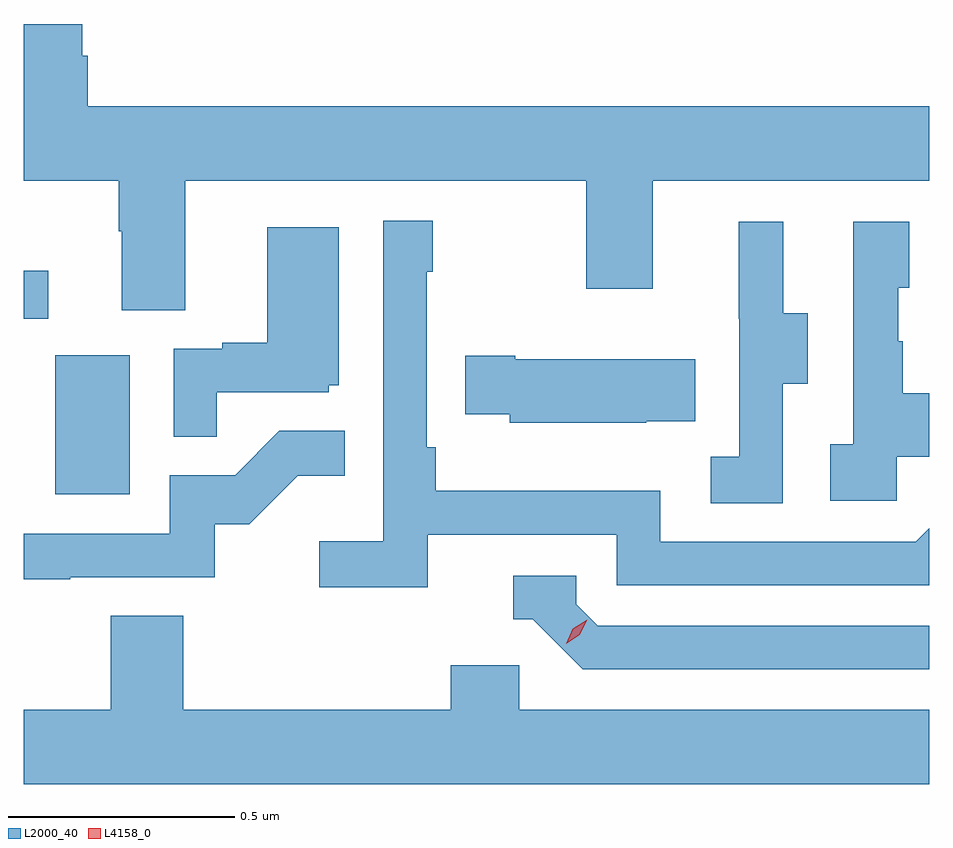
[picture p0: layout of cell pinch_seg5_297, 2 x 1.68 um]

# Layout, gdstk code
import gdstk
lib = gdstk.Library(unit=1e-6, precision=1e-09)
def R(c, l, rs):  # rectangles x0, y0, x1, y1
    for r in rs: c.add(gdstk.rectangle(r[:2], r[2:], *l))
def P(c, l, *ps):  # polygons
    for p in ps: c.add(gdstk.Polygon(p, *l))
L2000_40 = (2000, 40)
L4158_0 = (4158, 0)

pinch_seg5_297 = lib.new_cell('pinch_seg5_297')
R(pinch_seg5_297, L2000_40, [(894.146,890.7,894.31,891.007), (894.076,891.087,894.13,891.193)])
P(pinch_seg5_297, L2000_40, [(894.433,891.392),(895.318,891.392),(895.318,891.153),(895.465,891.153),(895.465,891.392),(896.076,891.392),(896.076,891.556),(894.218,891.556),(894.218,891.668),(894.205,891.668),(894.205,891.738),(894.076,891.738),(894.076,891.392),(894.286,891.392),(894.286,891.28),(894.293,891.28),(894.293,891.106),(894.433,891.106)],
  [(894.968,890.61),(895.386,890.61),(895.386,890.499),(896.076,890.499),(896.076,890.625),(896.046,890.595),(895.482,890.595),(895.482,890.707),(894.986,890.707),(894.986,890.803),(894.966,890.803),(894.966,891.191),(894.979,891.191),(894.979,891.304),(894.87,891.304),(894.87,890.596),(894.729,890.596),(894.729,890.494),(894.968,890.494)],
  [(895.752,890.944),(895.807,890.944),(895.807,891.099),(895.753,891.099),(895.753,891.301),(895.655,891.301),(895.655,891.087),(895.656,891.087),(895.656,890.783),(895.593,890.783),(895.593,890.68),(895.752,890.68)],
  [(896.004,890.783),(896.076,890.783),(896.076,890.923),(896.017,890.923),(896.017,891.038),(896.007,891.038),(896.007,891.156),(896.032,891.156),(896.032,891.301),(895.908,891.301),(895.908,890.81),(895.857,890.81),(895.857,890.685),(896.004,890.685)],
  [(894.503,890.925),(894.75,890.925),(894.75,890.94),(894.772,890.94),(894.772,891.289),(894.614,891.289),(894.614,891.034),(894.515,891.034),(894.515,891.021),(894.408,891.021),(894.408,890.827),(894.503,890.827)],
  [(895.451,890.861),(895.559,890.861),(895.559,890.998),(895.162,890.998),(895.162,891.006),(895.051,891.006),(895.051,890.876),(895.149,890.876),(895.149,890.858),(895.451,890.858)],
  [(894.179,890.517),(894.498,890.517),(894.498,890.634),(894.574,890.634),(894.681,890.741),(894.785,890.741),(894.785,890.84),(894.641,890.84),(894.543,890.742),(894.399,890.742),(894.399,890.613),(894.076,890.613),(894.076,890.512),(894.179,890.512)],
  [(896.076,890.409),(895.344,890.409),(895.296,890.457),(895.296,890.52),(895.157,890.52),(895.157,890.424),(895.2,890.424),(895.311,890.313),(896.076,890.313)],
  [(896.076,890.224),(895.17,890.224),(895.17,890.322),(895.019,890.322),(895.019,890.224),(894.428,890.224),(894.428,890.432),(894.268,890.432),(894.268,890.224),(894.076,890.224),(894.076,890.06),(896.076,890.06)])
P(pinch_seg5_297, L4158_0, [(895.274,890.37),(895.274,890.37),(895.289,890.403),(895.32,890.423),(895.32,890.423),(895.32,890.423),(895.304,890.39),(895.274,890.37)])

lib.write_gds('pinch_seg5_297.gds')
